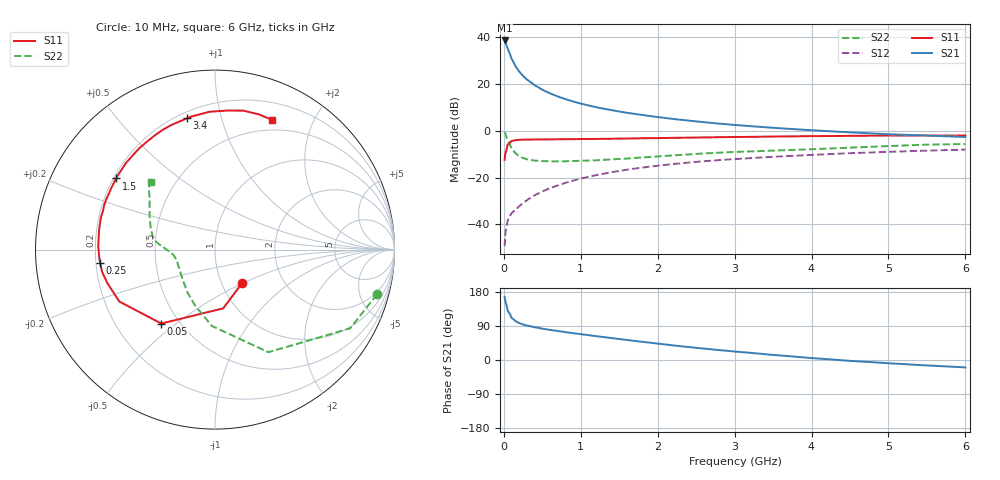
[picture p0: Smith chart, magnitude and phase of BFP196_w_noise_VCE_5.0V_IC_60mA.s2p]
! Infineon Technologies  Discrete & RF Semiconductors
! BFP196
! VCE =  5.0 V,  IC =  60 mA
! Common Emitter S-Parameters:  Jan 2017
# GHz  S  MA  R  50
!  f  S11  S21  S12  S22
! GHz  MAG  ANG  MAG  ANG  MAG  ANG  MAG  ANG
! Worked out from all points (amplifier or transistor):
!   77 points, 10 MHz to 6 GHz, reference 50 ohm
!   highest |S21| = 38.6 dB at 10 MHz (marker M1)
!   |S21| within 3 dB of that: start of sweep to 44.61 MHz
!   unconditionally stable (mu >= 1): 491.1 MHz to 2.449 GHz
!   at 130 MHz: K = 0.66, MSG = 31.7 dB, |S12| = -34.4 dB
!   at 2.2 GHz: K = 1.01, MAG = 9.1 dB, |S12| = -14.2 dB
!   at 6 GHz: K = 0.95, MSG = 2.7 dB, |S12| = -8.1 dB
!   lowest NFmin = 1.56 dB at 450 MHz
!   S11 on the Smith chart (normalised r, x): 10 MHz: 1.25, -0.49; 50 MHz: 0.40, -0.44; 250 MHz: 0.22, -0.05; 1.5 GHz: 0.21, +0.31; 3.4 GHz: 0.24, +0.78; 6 GHz: 0.38, +1.46
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0.01  0.2397 -50.6  85.38 166.5  0.0034 81.4  0.9367 -15.4
0.02  0.3307 -82.1  80.15 154.7  0.0065 75.1  0.8715 -30.2
0.05  0.5093 -126.0  57.2 129.7  0.0119 57.4  0.6446 -62.5
0.1  0.6065 -151.5  34.78 111.1  0.0172 54.9  0.426 -92.3
0.15  0.6278 -162.6  24.19 102.7  0.0203 56.6  0.3309 -109.6
0.2  0.6408 -168.7  18.46 97.4  0.0243 61.0  0.2867 -121.7
0.25  0.6448 -173.6  14.87 93.6  0.0285 61.4  0.2602 -130.3
0.3  0.6466 -176.7  12.46 90.9  0.0327 63.5  0.2456 -137.4
0.4  0.6509 178.2  9.422 86.4  0.0417 66.5  0.2307 -146.8
0.5  0.6517 173.9  7.546 82.7  0.0502 67.3  0.2245 -153.4
0.6  0.655 170.3  6.319 79.4  0.0591 67.8  0.2228 -158.5
0.7  0.6572 167.2  5.42 76.7  0.0676 67.6  0.2206 -162.2
0.9  0.66 161.0  4.222 70.8  0.0858 66.4  0.2249 -167.2
1.1  0.6674 155.1  3.481 65.6  0.1039 64.6  0.2306 -171.2
1.5  0.679 144.3  2.579 55.4  0.1385 60.0  0.2495 -176.9
2.1  0.7009 128.6  1.875 41.0  0.1862 51.7  0.2897 177.1
2.6  0.7204 117.3  1.526 30.1  0.2229 44.7  0.3276 172.8
3.1  0.7378 107.4  1.294 20.7  0.2535 38.0  0.3572 167.0
3.4  0.7479 102.0  1.188 15.3  0.2712 34.3  0.3711 163.1
4.1  0.7694 90.8  1.005 3.7  0.3096 25.7  0.4088 153.0
5.1  0.7897 77.2  0.831 -9.7  0.3583 14.0  0.4767 140.1
6  0.7892 66.2  0.736 -19.6  0.3953 4.0  0.5209 133.4
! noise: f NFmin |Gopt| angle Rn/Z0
0.45  1.56  0.41  -174  0.06
0.9  1.72  0.48  -162  0.08
1.9  2.54  0.68  -132  0.35
2.4  2.93  0.7  -119  0.72
